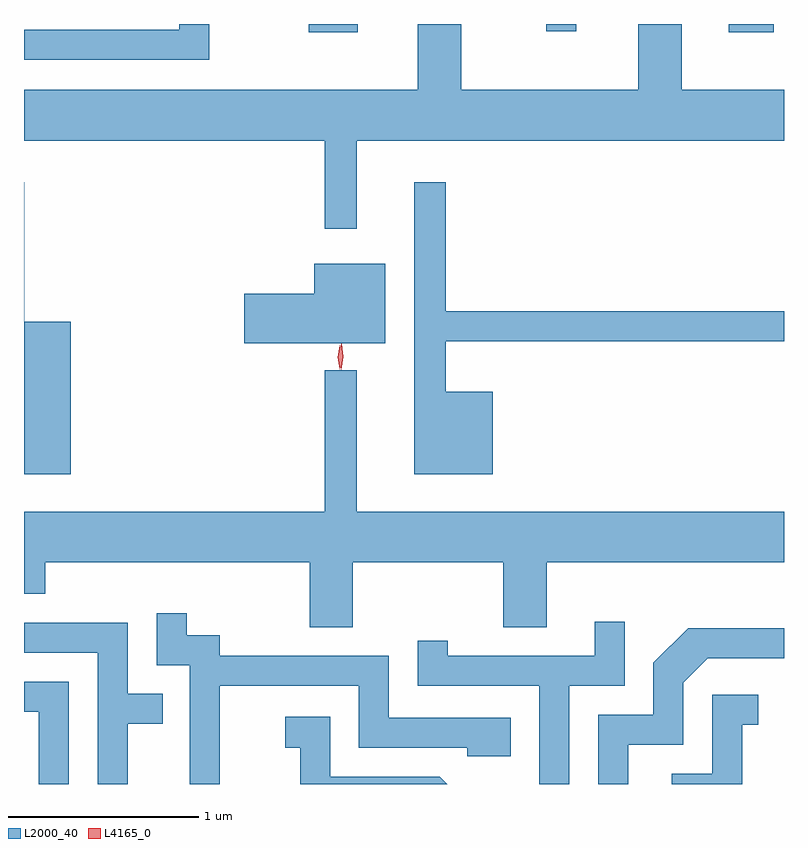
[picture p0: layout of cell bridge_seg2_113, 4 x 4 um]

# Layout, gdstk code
import gdstk
lib = gdstk.Library(unit=1e-6, precision=1e-09)
def R(c, l, rs):  # rectangles x0, y0, x1, y1
    for r in rs: c.add(gdstk.rectangle(r[:2], r[2:], *l))
def P(c, l, *ps):  # polygons
    for p in ps: c.add(gdstk.Polygon(p, *l))
L2000_40 = (2000, 40)
L4165_0 = (4165, 0)

bridge_seg2_113 = lib.new_cell('bridge_seg2_113')
R(bridge_seg2_113, L2000_40, [(908.276,1108.826,908.534,1108.87), (910.486,1108.826,910.724,1108.87), (909.526,1108.833,909.684,1108.87)])
P(bridge_seg2_113, L2000_40, [(910.778,1108.524),(910.239,1108.524),(910.239,1108.87),(910.011,1108.87),(910.011,1108.524),(909.079,1108.524),(909.079,1108.87),(908.851,1108.87),(908.851,1108.524),(906.778,1108.524),(906.778,1108.256),(908.361,1108.256),(908.361,1107.793),(908.529,1107.793),(908.529,1108.256),(910.778,1108.256)],
  [(907.754,1108.87),(907.596,1108.87),(907.596,1108.839),(906.778,1108.839),(906.778,1108.681),(907.754,1108.681)],
  [(909.244,1106.934),(908.999,1106.934),(908.999,1107.201),(910.778,1107.201),(910.778,1107.359),(908.999,1107.359),(908.999,1108.038),(908.831,1108.038),(908.831,1106.501),(909.244,1106.501)],
  [(907.024,1107.304),(906.779,1107.304),(906.779,1108.038),(906.778,1108.038),(906.778,1106.501),(907.024,1106.501)],
  [(908.679,1107.609),(908.306,1107.609),(908.306,1107.449),(907.936,1107.449),(907.936,1107.191),(908.679,1107.191)],
  [(908.509,1106.036),(909.301,1106.036),(909.301,1105.696),(909.529,1105.696),(909.529,1106.036),(910.778,1106.036),(910.778,1106.304),(908.529,1106.304),(908.529,1107.048),(908.361,1107.048),(908.361,1106.304),(906.778,1106.304),(906.778,1105.871),(906.889,1105.871),(906.889,1106.036),(908.281,1106.036),(908.281,1105.696),(908.509,1105.696)],
  [(907.809,1105.386),(908.541,1105.386),(908.541,1105.061),(909.111,1105.061),(909.111,1105.016),(909.339,1105.016),(909.339,1105.219),(908.699,1105.219),(908.699,1105.544),(907.809,1105.544),(907.809,1105.654),(907.634,1105.654),(907.634,1105.768),(907.476,1105.768),(907.476,1105.496),(907.651,1105.496),(907.651,1104.87),(907.809,1104.87)],
  [(909.649,1105.386),(909.939,1105.386),(909.939,1105.723),(909.781,1105.723),(909.781,1105.544),(909.009,1105.544),(909.009,1105.623),(908.851,1105.623),(908.851,1105.386),(909.491,1105.386),(909.491,1104.87),(909.649,1104.87)],
  [(907.324,1105.186),(907.508,1105.186),(907.508,1105.344),(907.324,1105.344),(907.324,1105.719),(906.778,1105.719),(906.778,1105.561),(907.166,1105.561),(907.166,1104.87),(907.324,1104.87)],
  [(909.959,1105.076),(910.249,1105.076),(910.249,1105.404),(910.377,1105.531),(910.778,1105.531),(910.778,1105.689),(910.274,1105.689),(910.091,1105.507),(910.091,1105.234),(909.801,1105.234),(909.801,1104.87),(909.959,1104.87)],
  [(907.014,1105.409),(906.778,1105.409),(906.778,1105.251),(906.856,1105.251),(906.856,1104.87),(907.014,1104.87)],
  [(910.559,1105.181),(910.643,1105.181),(910.643,1105.339),(910.401,1105.339),(910.401,1104.924),(910.186,1104.924),(910.186,1104.87),(910.559,1104.87)],
  [(908.967,1104.909),(908.389,1104.909),(908.389,1105.224),(908.153,1105.224),(908.153,1105.061),(908.231,1105.061),(908.231,1104.87),(909.006,1104.87)])
P(bridge_seg2_113, L4165_0, [(908.447,1107.05),(908.447,1107.05),(908.438,1107.118),(908.448,1107.186),(908.449,1107.186),(908.45,1107.186),(908.458,1107.118),(908.448,1107.05)],
  [(908.439,1107.053),(908.43,1107.116),(908.439,1107.179),(908.439,1107.18),(908.44,1107.179),(908.45,1107.116),(908.44,1107.053),(908.44,1107.053)])

lib.write_gds('bridge_seg2_113.gds')
